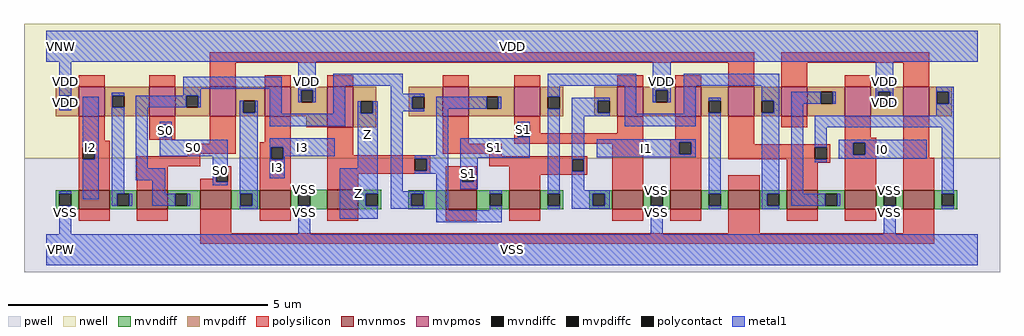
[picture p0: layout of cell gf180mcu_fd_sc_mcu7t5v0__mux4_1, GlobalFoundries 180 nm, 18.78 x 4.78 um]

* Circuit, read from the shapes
.subckt gf180mcu_fd_sc_mcu7t5v0__mux4_1 I0 I1 I2 I3 S0 S1 Z VDD VNW VPW VSS
XM1 n1 I2 VSS VPW nfet_06v0 w=0.365u l=0.6u
XM2 n2 n3 n1 VPW nfet_06v0 w=0.365u l=0.6u
XM3 n4 S0 n2 VPW nfet_06v0 w=0.365u l=0.6u
XM4 VSS I3 n4 VPW nfet_06v0 w=0.365u l=0.6u
XM5 Z n5 VSS VPW nfet_06v0 w=0.38u l=0.6u
XM6 n5 S1 n2 VPW nfet_06v0 w=0.365u l=0.6u
XM7 n6 n7 n5 VPW nfet_06v0 w=0.365u l=0.6u
XM8 VSS S1 n7 VPW nfet_06v0 w=0.365u l=0.6u
XM9 n8 I1 VSS VPW nfet_06v0 w=0.365u l=0.6u
XM10 n6 S0 n8 VPW nfet_06v0 w=0.365u l=0.6u
XM11 n9 n3 n6 VPW nfet_06v0 w=0.365u l=0.6u
XM12 VSS I0 n9 VPW nfet_06v0 w=0.365u l=0.6u
XM13 n3 S0 VSS VPW nfet_06v0 w=0.365u l=0.6u
XM14 n1 I2 VDD VNW pfet_06v0 w=0.565u l=0.5u
XM15 n2 S0 n1 VNW pfet_06v0 w=0.565u l=0.5u
XM16 n4 n3 n2 VNW pfet_06v0 w=0.565u l=0.5u
XM17 VDD I3 n4 VNW pfet_06v0 w=0.565u l=0.5u
XM18 Z n5 VDD VNW pfet_06v0 w=0.78u l=0.5u
XM19 n5 n7 n2 VNW pfet_06v0 w=0.565u l=0.5u
XM20 n6 S1 n5 VNW pfet_06v0 w=0.565u l=0.5u
XM21 VDD S1 n7 VNW pfet_06v0 w=0.565u l=0.5u
XM22 n8 I1 VDD VNW pfet_06v0 w=0.565u l=0.5u
XM23 n6 n3 n8 VNW pfet_06v0 w=0.565u l=0.5u
XM24 n9 S0 n6 VNW pfet_06v0 w=0.565u l=0.5u
XM25 VDD I0 n9 VNW pfet_06v0 w=0.565u l=0.5u
XM26 n3 S0 VDD VNW pfet_06v0 w=0.565u l=0.5u
.ends

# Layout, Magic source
magic
tech gf180mcuD
magscale 1 10
<< nwell >>
rect -86 352 3670 870
<< pwell >>
rect -86 -86 3670 352
<< mvnmos >>
rect 124 156 244 229
rect 348 156 468 229
rect 592 156 712 229
rect 821 156 941 229
rect 1081 156 1201 232
rect 1537 156 1657 229
rect 1781 156 1901 229
rect 2177 156 2297 229
rect 2401 156 2521 229
rect 2625 156 2745 229
rect 2849 156 2969 229
rect 3073 156 3193 229
rect 3297 156 3417 229
<< mvpmos >>
rect 124 515 224 628
rect 396 515 496 628
rect 628 515 728 628
rect 841 515 941 628
rect 1081 472 1181 628
rect 1525 515 1625 628
rect 1801 515 1901 628
rect 2197 515 2297 628
rect 2421 515 2521 628
rect 2625 515 2725 628
rect 2829 515 2929 628
rect 3073 515 3173 628
rect 3297 515 3397 628
<< mvndiff >>
rect 1001 229 1081 232
rect 36 215 124 229
rect 36 169 49 215
rect 95 169 124 215
rect 36 156 124 169
rect 244 215 348 229
rect 244 169 273 215
rect 319 169 348 215
rect 244 156 348 169
rect 468 215 592 229
rect 468 169 497 215
rect 543 169 592 215
rect 468 156 592 169
rect 712 215 821 229
rect 712 169 746 215
rect 792 169 821 215
rect 712 156 821 169
rect 941 215 1081 229
rect 941 169 970 215
rect 1016 169 1081 215
rect 941 156 1081 169
rect 1201 215 1289 232
rect 1201 169 1230 215
rect 1276 169 1289 215
rect 1201 156 1289 169
rect 1392 215 1537 229
rect 1392 169 1405 215
rect 1451 169 1537 215
rect 1392 156 1537 169
rect 1657 215 1781 229
rect 1657 169 1706 215
rect 1752 169 1781 215
rect 1657 156 1781 169
rect 1901 215 1989 229
rect 1901 169 1930 215
rect 1976 169 1989 215
rect 1901 156 1989 169
rect 2089 216 2177 229
rect 2089 170 2102 216
rect 2148 170 2177 216
rect 2089 156 2177 170
rect 2297 216 2401 229
rect 2297 170 2326 216
rect 2372 170 2401 216
rect 2297 156 2401 170
rect 2521 216 2625 229
rect 2521 170 2550 216
rect 2596 170 2625 216
rect 2521 156 2625 170
rect 2745 216 2849 229
rect 2745 170 2774 216
rect 2820 170 2849 216
rect 2745 156 2849 170
rect 2969 216 3073 229
rect 2969 170 2998 216
rect 3044 170 3073 216
rect 2969 156 3073 170
rect 3193 216 3297 229
rect 3193 170 3222 216
rect 3268 170 3297 216
rect 3193 156 3297 170
rect 3417 216 3505 229
rect 3417 170 3446 216
rect 3492 170 3505 216
rect 3417 156 3505 170
<< mvpdiff >>
rect 36 594 124 628
rect 36 548 49 594
rect 95 548 124 594
rect 36 515 124 548
rect 224 594 396 628
rect 224 548 253 594
rect 299 548 396 594
rect 224 515 396 548
rect 496 594 628 628
rect 496 548 538 594
rect 584 548 628 594
rect 496 515 628 548
rect 728 574 841 628
rect 728 528 757 574
rect 803 528 841 574
rect 728 515 841 528
rect 941 615 1081 628
rect 941 569 980 615
rect 1026 569 1081 615
rect 941 515 1081 569
rect 1001 472 1081 515
rect 1181 571 1269 628
rect 1181 525 1210 571
rect 1256 525 1269 571
rect 1181 472 1269 525
rect 1395 590 1525 628
rect 1395 544 1408 590
rect 1454 544 1525 590
rect 1395 515 1525 544
rect 1625 590 1801 628
rect 1625 544 1694 590
rect 1740 544 1801 590
rect 1625 515 1801 544
rect 1901 590 1989 628
rect 1901 544 1930 590
rect 1976 544 1989 590
rect 1901 515 1989 544
rect 2109 574 2197 628
rect 2109 528 2122 574
rect 2168 528 2197 574
rect 2109 515 2197 528
rect 2297 615 2421 628
rect 2297 569 2346 615
rect 2392 569 2421 615
rect 2297 515 2421 569
rect 2521 574 2625 628
rect 2521 528 2550 574
rect 2596 528 2625 574
rect 2521 515 2625 528
rect 2725 574 2829 628
rect 2725 528 2754 574
rect 2800 528 2829 574
rect 2725 515 2829 528
rect 2929 609 3073 628
rect 2929 563 2981 609
rect 3027 563 3073 609
rect 2929 515 3073 563
rect 3173 609 3297 628
rect 3173 563 3202 609
rect 3248 563 3297 609
rect 3173 515 3297 563
rect 3397 609 3485 628
rect 3397 563 3426 609
rect 3472 563 3485 609
rect 3397 515 3485 563
<< mvndiffc >>
rect 49 169 95 215
rect 273 169 319 215
rect 497 169 543 215
rect 746 169 792 215
rect 970 169 1016 215
rect 1230 169 1276 215
rect 1405 169 1451 215
rect 1706 169 1752 215
rect 1930 169 1976 215
rect 2102 170 2148 216
rect 2326 170 2372 216
rect 2550 170 2596 216
rect 2774 170 2820 216
rect 2998 170 3044 216
rect 3222 170 3268 216
rect 3446 170 3492 216
<< mvpdiffc >>
rect 49 548 95 594
rect 253 548 299 594
rect 538 548 584 594
rect 757 528 803 574
rect 980 569 1026 615
rect 1210 525 1256 571
rect 1408 544 1454 590
rect 1694 544 1740 590
rect 1930 544 1976 590
rect 2122 528 2168 574
rect 2346 569 2392 615
rect 2550 528 2596 574
rect 2754 528 2800 574
rect 2981 563 3027 609
rect 3202 563 3248 609
rect 3426 563 3472 609
<< polysilicon >>
rect 628 720 2725 760
rect 124 628 224 672
rect 396 628 496 672
rect 628 628 728 720
rect 841 628 941 672
rect 1081 628 1181 672
rect 1525 628 1625 672
rect 1801 628 1901 672
rect 2197 628 2297 672
rect 2421 628 2521 672
rect 2625 628 2725 720
rect 2829 720 3397 760
rect 2829 628 2929 720
rect 3073 628 3173 672
rect 3297 628 3397 720
rect 124 420 224 515
rect 396 482 496 515
rect 396 436 437 482
rect 483 436 496 482
rect 396 423 496 436
rect 124 394 244 420
rect 628 409 728 515
rect 841 415 941 515
rect 124 348 141 394
rect 187 348 244 394
rect 544 369 728 409
rect 821 394 941 415
rect 544 361 592 369
rect 124 229 244 348
rect 348 321 592 361
rect 821 348 865 394
rect 911 348 941 394
rect 348 229 468 321
rect 640 308 712 321
rect 640 273 653 308
rect 592 262 653 273
rect 699 262 712 308
rect 592 229 712 262
rect 821 229 941 348
rect 1081 364 1181 472
rect 1525 409 1625 515
rect 1801 482 1901 515
rect 1801 436 1814 482
rect 1860 449 1901 482
rect 2197 449 2297 515
rect 1860 436 2297 449
rect 1801 409 2297 436
rect 2421 426 2521 515
rect 1525 369 1753 409
rect 1081 351 1477 364
rect 1081 305 1418 351
rect 1464 305 1477 351
rect 1705 361 1753 369
rect 1705 348 2082 361
rect 1705 321 2023 348
rect 1081 292 1477 305
rect 1537 308 1657 321
rect 1081 232 1201 292
rect 1537 262 1598 308
rect 1644 262 1657 308
rect 1537 229 1657 262
rect 1781 302 2023 321
rect 2069 302 2082 348
rect 1781 289 2082 302
rect 1781 229 1901 289
rect 2177 229 2297 409
rect 2401 414 2521 426
rect 2401 368 2435 414
rect 2481 368 2521 414
rect 2401 229 2521 368
rect 2625 407 2725 515
rect 2829 471 2929 515
rect 3073 431 3173 515
rect 3073 412 3193 431
rect 2625 394 3017 407
rect 2625 348 2958 394
rect 3004 348 3017 394
rect 2849 335 3017 348
rect 3073 366 3106 412
rect 3152 366 3193 412
rect 2625 229 2745 288
rect 2849 229 2969 335
rect 3073 229 3193 366
rect 3297 355 3397 515
rect 3297 229 3417 355
rect 124 112 244 156
rect 348 112 468 156
rect 592 64 712 156
rect 821 112 941 156
rect 1081 112 1201 156
rect 1537 112 1657 156
rect 1781 112 1901 156
rect 2177 112 2297 156
rect 2401 112 2521 156
rect 2625 64 2745 156
rect 2849 112 2969 156
rect 3073 112 3193 156
rect 3297 64 3417 156
rect 592 24 3417 64
<< polycontact >>
rect 437 436 483 482
rect 141 348 187 394
rect 865 348 911 394
rect 653 262 699 308
rect 1814 436 1860 482
rect 1418 305 1464 351
rect 1598 262 1644 308
rect 2023 302 2069 348
rect 2435 368 2481 414
rect 2958 348 3004 394
rect 3106 366 3152 412
<< metal1 >>
rect 0 724 3584 844
rect 49 594 95 724
rect 527 620 906 666
rect 252 594 299 605
rect 527 594 595 620
rect 49 537 95 548
rect 141 394 202 590
rect 187 348 202 394
rect 49 215 95 226
rect 141 194 202 348
rect 252 548 253 594
rect 252 215 299 548
rect 345 548 538 594
rect 584 548 595 594
rect 345 314 391 548
rect 745 528 757 574
rect 803 528 814 574
rect 437 482 483 493
rect 437 424 483 436
rect 437 360 699 424
rect 345 268 458 314
rect 408 215 458 268
rect 640 308 699 360
rect 640 262 653 308
rect 640 248 699 262
rect 745 215 814 528
rect 860 523 906 620
rect 969 615 1037 724
rect 969 569 980 615
rect 1026 569 1037 615
rect 1104 631 1372 678
rect 1104 523 1150 631
rect 1326 601 1372 631
rect 1930 632 2271 678
rect 1326 590 1454 601
rect 1930 590 1976 632
rect 860 476 1150 523
rect 1198 525 1210 571
rect 1256 525 1276 571
rect 860 394 1110 430
rect 860 348 865 394
rect 911 360 1110 394
rect 911 348 917 360
rect 860 275 917 348
rect 1198 314 1276 525
rect 252 169 273 215
rect 319 169 330 215
rect 408 169 497 215
rect 543 169 554 215
rect 745 169 746 215
rect 792 169 814 215
rect 49 60 95 169
rect 745 156 814 169
rect 970 215 1016 232
rect 970 60 1016 169
rect 1130 215 1276 314
rect 1130 169 1230 215
rect 1130 120 1276 169
rect 1326 544 1408 590
rect 1326 533 1454 544
rect 1500 544 1694 590
rect 1740 544 1751 590
rect 1326 226 1372 533
rect 1500 364 1546 544
rect 1814 482 1860 493
rect 1814 430 1860 436
rect 1418 351 1546 364
rect 1464 305 1546 351
rect 1418 292 1546 305
rect 1326 215 1454 226
rect 1326 169 1405 215
rect 1451 169 1454 215
rect 1326 158 1454 169
rect 1500 152 1546 292
rect 1592 354 1860 430
rect 1592 308 1660 354
rect 1592 262 1598 308
rect 1644 262 1660 308
rect 1592 233 1660 262
rect 1706 215 1752 229
rect 1706 152 1752 169
rect 1930 215 1976 544
rect 1930 156 1976 169
rect 2022 574 2168 585
rect 2022 528 2122 574
rect 2022 515 2168 528
rect 2225 523 2271 632
rect 2334 615 2403 724
rect 2334 569 2346 615
rect 2392 569 2403 615
rect 2453 632 2820 678
rect 2453 523 2499 632
rect 2022 348 2070 515
rect 2225 476 2499 523
rect 2550 574 2596 585
rect 2118 414 2500 426
rect 2118 368 2435 414
rect 2481 368 2500 414
rect 2118 356 2500 368
rect 2022 302 2023 348
rect 2069 302 2070 348
rect 2022 229 2070 302
rect 2022 216 2168 229
rect 2022 170 2102 216
rect 2148 170 2168 216
rect 2022 159 2168 170
rect 2326 216 2372 229
rect 1500 106 1752 152
rect 2326 60 2372 170
rect 2550 216 2596 528
rect 2550 156 2596 170
rect 2754 574 2820 632
rect 3191 609 3259 724
rect 2800 528 2820 574
rect 2754 216 2820 528
rect 2754 170 2774 216
rect 2866 563 2981 609
rect 3027 563 3038 609
rect 3191 563 3202 609
rect 3248 563 3259 609
rect 3425 609 3492 628
rect 3425 563 3426 609
rect 3472 563 3492 609
rect 2866 216 2912 563
rect 3425 517 3492 563
rect 2958 471 3492 517
rect 2958 394 3004 471
rect 3050 412 3388 424
rect 3050 366 3106 412
rect 3152 366 3388 412
rect 3050 350 3388 366
rect 2958 337 3004 348
rect 3222 216 3268 229
rect 2866 170 2998 216
rect 3044 170 3055 216
rect 2754 156 2820 170
rect 3222 60 3268 170
rect 3446 216 3492 471
rect 3446 156 3492 170
rect 0 -60 3584 60
<< labels >>
flabel metal1 s 3050 350 3388 424 0 FreeSans 400 0 0 0 I0
port 1 nsew default input
flabel metal1 s 970 229 1016 232 0 FreeSans 400 0 0 0 VSS
port 11 nsew ground bidirectional abutment
flabel metal1 s 0 724 3584 844 0 FreeSans 400 0 0 0 VDD
port 8 nsew power bidirectional abutment
flabel metal1 s 141 194 202 590 0 FreeSans 400 0 0 0 I2
port 3 nsew default input
flabel metal1 s 2118 356 2500 426 0 FreeSans 400 0 0 0 I1
port 2 nsew default input
flabel metal1 s 437 424 483 493 0 FreeSans 400 0 0 0 S0
port 5 nsew default input
flabel metal1 s 860 360 1110 430 0 FreeSans 400 0 0 0 I3
port 4 nsew default input
flabel metal1 s 1814 430 1860 493 0 FreeSans 400 0 0 0 S1
port 6 nsew default input
flabel metal1 s 1198 314 1276 571 0 FreeSans 400 0 0 0 Z
port 7 nsew default output
flabel nwell s 10 734 110 834 0 FreeSans 400 0 0 0 VNW
port 9 nsew power bidirectional
flabel pwell s 10 -50 110 50 0 FreeSans 400 0 0 0 VPW
port 10 nsew ground bidirectional
rlabel metal1 s 860 275 917 360 1 I3
port 4 nsew default input
rlabel metal1 s 437 360 699 424 1 S0
port 5 nsew default input
rlabel metal1 s 640 248 699 360 1 S0
port 5 nsew default input
rlabel metal1 s 1592 354 1860 430 1 S1
port 6 nsew default input
rlabel metal1 s 1592 233 1660 354 1 S1
port 6 nsew default input
rlabel metal1 s 1130 120 1276 314 1 Z
port 7 nsew default output
rlabel metal1 s 3191 569 3259 724 1 VDD
port 8 nsew power bidirectional abutment
rlabel metal1 s 2334 569 2403 724 1 VDD
port 8 nsew power bidirectional abutment
rlabel metal1 s 969 569 1037 724 1 VDD
port 8 nsew power bidirectional abutment
rlabel metal1 s 49 569 95 724 1 VDD
port 8 nsew power bidirectional abutment
rlabel metal1 s 3191 563 3259 569 1 VDD
port 8 nsew power bidirectional abutment
rlabel metal1 s 49 563 95 569 1 VDD
port 8 nsew power bidirectional abutment
rlabel metal1 s 49 537 95 563 1 VDD
port 8 nsew power bidirectional abutment
rlabel metal1 s 3222 226 3268 229 1 VSS
port 11 nsew ground bidirectional abutment
rlabel metal1 s 2326 226 2372 229 1 VSS
port 11 nsew ground bidirectional abutment
rlabel metal1 s 970 226 1016 229 1 VSS
port 11 nsew ground bidirectional abutment
rlabel metal1 s 3222 60 3268 226 1 VSS
port 11 nsew ground bidirectional abutment
rlabel metal1 s 2326 60 2372 226 1 VSS
port 11 nsew ground bidirectional abutment
rlabel metal1 s 970 60 1016 226 1 VSS
port 11 nsew ground bidirectional abutment
rlabel metal1 s 49 60 95 226 1 VSS
port 11 nsew ground bidirectional abutment
rlabel metal1 s 0 -60 3584 60 1 VSS
port 11 nsew ground bidirectional abutment
<< properties >>
string FIXED_BBOX 0 0 3584 784
string GDS_END 681862
string GDS_FILE $PDKPATH/libs.ref/gf180mcu_fd_sc_mcu7t5v0/gds/gf180mcu_fd_sc_mcu7t5v0.gds
string GDS_START 673996
string LEFclass core
string LEFsite GF018hv5v_mcu_sc7
string LEFsymmetry X Y
<< end >>
